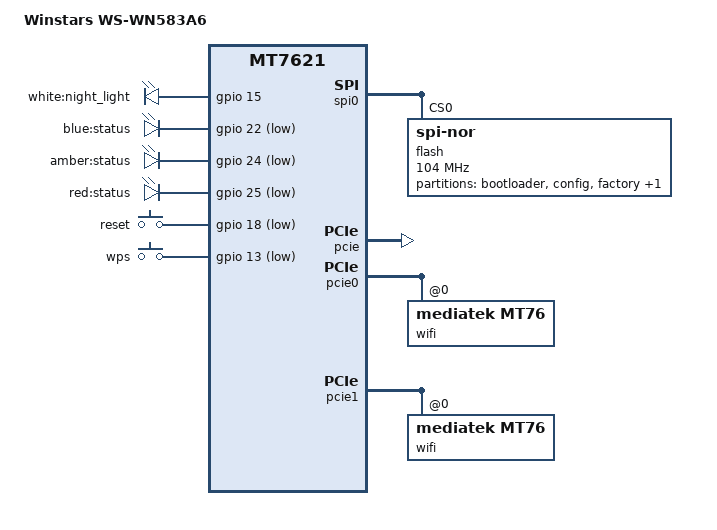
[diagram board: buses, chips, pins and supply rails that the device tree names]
// SPDX-License-Identifier: GPL-2.0-or-later OR MIT

#include "mt7621.dtsi"

#include <dt-bindings/gpio/gpio.h>
#include <dt-bindings/input/input.h>

/ {
	compatible = "winstars,ws-wn583a6", "mediatek,mt7621-soc";
	model = "Winstars WS-WN583A6";

	aliases {
		led-boot = &led_status_red;
		led-failsafe = &led_status_red;
		led-running = &led_status_blue;
		led-upgrade = &led_status_red;
	};

	leds {
		compatible = "gpio-leds";

		night_light_white {
			label = "white:night_light";
			gpios = <&gpio 15 GPIO_ACTIVE_HIGH>;
		};

		led_status_blue: status_blue {
			label = "blue:status";
			gpios = <&gpio 22 GPIO_ACTIVE_LOW>;
		};

		status_amber {
			label = "amber:status";
			gpios = <&gpio 24 GPIO_ACTIVE_LOW>;
		};

		led_status_red: status_red {
			label = "red:status";
			gpios = <&gpio 25 GPIO_ACTIVE_LOW>;
		};
	};

	keys {
		compatible = "gpio-keys";

		reset {
			label = "reset";
			gpios = <&gpio 18 GPIO_ACTIVE_LOW>;
			linux,code = <KEY_RESTART>;
		};

		wps {
			label = "wps";
			gpios = <&gpio 13 GPIO_ACTIVE_LOW>;
			linux,code = <KEY_WPS_BUTTON>;
		};
	};
};

&spi0 {
	status = "okay";

	flash@0 {
		compatible = "jedec,spi-nor";
		reg = <0>;
		spi-max-frequency = <104000000>;
		m25p,fast-read;

		partitions {
			compatible = "fixed-partitions";
			#address-cells = <1>;
			#size-cells = <1>;

			partition@0 {
				label = "bootloader";
				reg = <0x0 0x30000>;
				read-only;
			};

			partition@30000 {
				label = "config";
				reg = <0x30000 0x10000>;
				read-only;
			};

			factory: partition@40000 {
				label = "factory";
				reg = <0x40000 0x10000>;
				read-only;
			};

			partition@50000 {
				compatible = "denx,uimage";
				label = "firmware";
				reg = <0x50000 0x7b0000>;
			};
		};
	};
};

&pcie {
	status = "okay";
};

&pcie0 {
	wifi@0,0 {
		compatible = "mediatek,mt76";
		reg = <0x0000 0 0 0 0>;
		mediatek,mtd-eeprom = <&factory 0x0000>;
	};
};

&pcie1 {
	wifi@0,0 {
		compatible = "mediatek,mt76";
		reg = <0x0000 0 0 0 0>;
		mediatek,mtd-eeprom = <&factory 0x8000>;
	};
};

&gmac0 {
	mtd-mac-address = <&factory 0xe000>;
};

&switch0 {
	ports {
		port@0 {
			status = "okay";
			label = "wan";
			mtd-mac-address = <&factory 0xe006>;
		};

		port@1 {
			status = "okay";
			label = "lan";
		};
	};
};

&state_default {
	gpio {
		groups = "jtag", "wdt", "rgmii2";
		function = "gpio";
	};
};

&xhci {
	status = "disabled";
};
